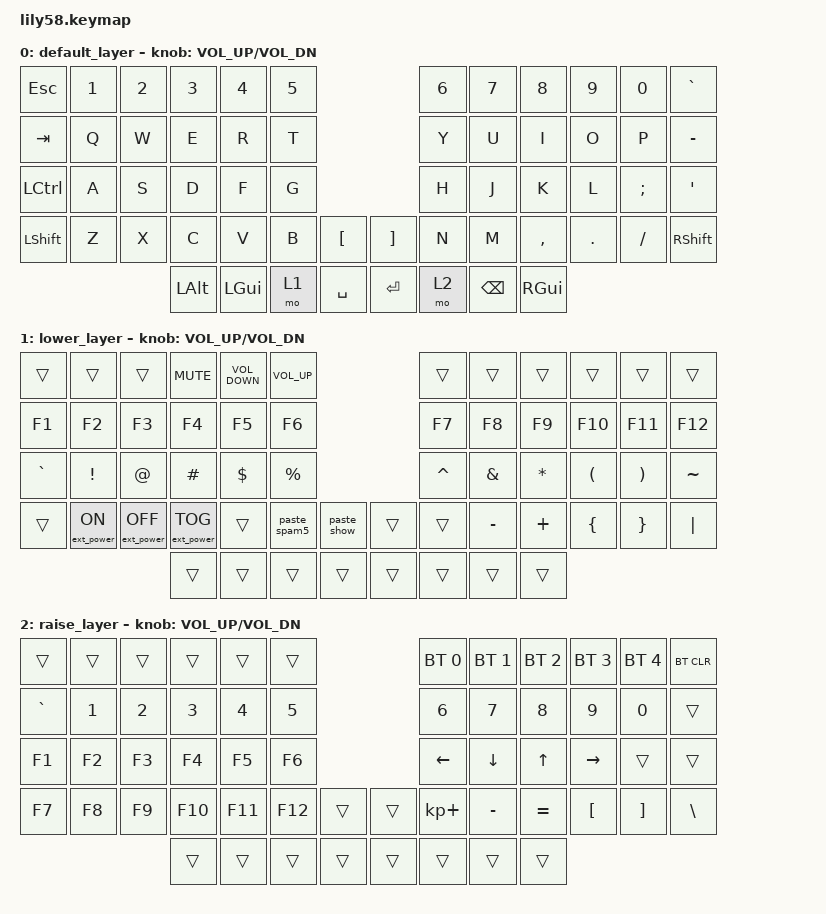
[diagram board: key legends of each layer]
/*
 * Copyright (c) 2020 The ZMK Contributors
 *
 * SPDX-License-Identifier: MIT
 */

#include <behaviors.dtsi>
#include <dt-bindings/zmk/bt.h>
#include <dt-bindings/zmk/ext_power.h>
#include <dt-bindings/zmk/keys.h>

/ {
    combos {
        compatible = "zmk,combos";

        combo_esc {
            timeout-ms = <50>;
            key-positions = <42 43>;
            bindings = <&kp ESC>;
        };
    };

    behaviors {
        ss_hs_modmorph: ss_hs_modmorph {
            compatible = "zmk,behavior-mod-morph";
            label = "SS_HS_MODMORPH";
            bindings = <&kp M>, <&kp RIGHT_BRACKET>;

            #binding-cells = <0>;
            mods = <(MOD_LSFT|MOD_RSFT)>;
        };

        kh_hs_tapdance: kh_hs_tapdance {
            compatible = "zmk,behavior-tap-dance";
            label = "KH_HS_TAPDANCE";
            #binding-cells = <0>;
            tapping-term-ms = <200>;
            bindings = <&kp LEFT_BRACKET>, <&kp RIGHT_BRACKET>;
        };

        hrm: hrm {
            compatible = "zmk,behavior-hold-tap";
            #binding-cells = <2>;
            flavor = "tap-preferred";
            tapping-term-ms = <200>;
            quick-tap-ms = <200>;
            require-prior-idle-ms = <125>;
            bindings = <&kp>, <&kp>;
        };
    };

    macros {
        paste_show: paste_show {
            compatible = "zmk,behavior-macro";
            #binding-cells = <0>;
            bindings = <&kp LS(ENTER) &kp LC(V)>;
            label = "PASTE_SHOW";
            wait-ms = <2>;
            tap-ms = <2>;
        };

        paste_spam5: paste_spam5 {
            compatible = "zmk,behavior-macro";
            #binding-cells = <0>;
            bindings = <&kp LS(ENTER) &kp LC(V) &kp ENTER &kp LS(ENTER) &kp LC(V) &kp ENTER>;
            label = "PASTE_SPAM5";
            wait-ms = <10>;
            tap-ms = <10>;
        };
    };

    keymap {
        compatible = "zmk,keymap";

        default_layer {
            // ------------------------------------------------------------------------------------------------------------
            // |  ESC  |  1  |  2  |  3   |  4   |  5   |                   |  6   |  7    |  8    |  9   |   0   |   `   |
            // |  TAB  |  Q  |  W  |  E   |  R   |  T   |                   |  Y   |  U    |  I    |  O   |   P   |   -   |
            // |  CTRL |  A  |  S  |  D   |  F   |  G   |                   |  H   |  J    |  K    |  L   |   ;   |   '   |
            // | SHIFT |  Z  |  X  |  C   |  V   |  B   |   "["  |  |  "]"  |  N   |  M    |  ,    |  .   |   /   | SHIFT |
            //                     | ALT  | GUI  | LOWER|  SPACE |  | ENTER | RAISE| BSPC  | GUI   |

            bindings = <
&kp ESC    &kp N1  &kp N2  &kp N3    &kp N4    &kp N5                         &kp N6  &kp N7    &kp N8     &kp N9   &kp N0    &kp GRAVE
&kp TAB    &kp Q   &kp W   &kp E     &kp R     &kp T                          &kp Y   &kp U     &kp I      &kp O    &kp P     &kp MINUS
&kp LCTRL  &kp A   &kp S   &kp D     &kp F     &kp G                          &kp H   &kp J     &kp K      &kp L    &kp SEMI  &kp SQT
&kp LSHFT  &kp Z   &kp X   &kp C     &kp V     &kp B   &kp LBKT     &kp RBKT  &kp N   &kp M     &kp COMMA  &kp DOT  &kp FSLH  &kp RSHFT
                           &kp LALT  &kp LGUI  &mo 1   &kp SPACE    &kp RET   &mo 2   &kp BSPC  &kp RGUI
            >;

            sensor-bindings = <&inc_dec_kp C_VOL_UP C_VOL_DN>;
        };

        lower_layer {
            // ------------------------------------------------------------------------------------------------------------
            // | BTCLR | BT1 | BT2 |  BT3 |  BT4 |  BT5 |                   |      |       |       |      |       |       |
            // |  F1   |  F2 |  F3 |  F4  |  F5  |  F6  |                   |  F7  |  F8   |  F9   |  F10 |  F11  |  F12  |
            // |   `   |  !  |  @  |  #   |  $   |  %   |                   |  ^   |  &    |  *    |  (   |   )   |   ~   |
            // |       |     |     |      |      |      |        |  |       |      |  _    |  +    |  {   |   }   |  "|"  |
            //                     |      |      |      |        |  |       |      |       |       |

            bindings = <
&trans     &trans            &trans             &kp C_MUTE         &kp C_VOLUME_DOWN  &kp C_VOLUME_UP                         &trans     &trans     &trans     &trans    &trans    &trans
&kp F1     &kp F2            &kp F3             &kp F4             &kp F5             &kp F6                                  &kp F7     &kp F8     &kp F9     &kp F10   &kp F11   &kp F12
&kp GRAVE  &kp EXCL          &kp AT             &kp HASH           &kp DOLLAR         &kp PRCNT                               &kp CARET  &kp AMPS   &kp ASTRK  &kp LPAR  &kp RPAR  &kp TILDE
&trans     &ext_power EP_ON  &ext_power EP_OFF  &ext_power EP_TOG  &trans             &paste_spam5     &paste_show    &trans  &trans     &kp MINUS  &kp PLUS   &kp LBRC  &kp RBRC  &kp PIPE
                                                &trans             &trans             &trans           &trans         &trans  &trans     &trans     &trans
            >;

            sensor-bindings = <&inc_dec_kp C_VOL_UP C_VOL_DN>;
        };

        raise_layer {
            // ------------------------------------------------------------------------------------------------------------
            // |       |     |     |      |      |      |                   |      |       |       |      |       |       |
            // |   `   |  1  |  2  |  3   |  4   |  5   |                   |  6   |   7   |   8   |  9   |   0   |       |
            // |   F1  |  F2 |  F3 |  F4  |  F5  |  F6  |                   |      |   <-  |   v   |  ^   |  ->   |       |
            // |   F7  |  F8 |  F9 |  F10 |  F11 |  F12 |        |  |       |  +   |   -   |   =   |  [   |   ]   |   \   |
            //                     |      |      |      |        |  |       |      |       |       |

            bindings = <
&trans     &trans  &trans  &trans   &trans   &trans                     &bt BT_SEL 0    &bt BT_SEL 1    &bt BT_SEL 2  &bt BT_SEL 3  &bt BT_SEL 4  &bt BT_CLR
&kp GRAVE  &kp N1  &kp N2  &kp N3   &kp N4   &kp N5                     &kp N6          &kp N7          &kp N8        &kp N9        &kp N0        &trans
&kp F1     &kp F2  &kp F3  &kp F4   &kp F5   &kp F6                     &kp LEFT_ARROW  &kp DOWN_ARROW  &kp UP        &kp RIGHT     &trans        &trans
&kp F7     &kp F8  &kp F9  &kp F10  &kp F11  &kp F12  &trans    &trans  &kp KP_PLUS     &kp MINUS       &kp EQUAL     &kp LBKT      &kp RBKT      &kp BSLH
                           &trans   &trans   &trans   &trans    &trans  &trans          &trans          &trans
            >;

            sensor-bindings = <&inc_dec_kp C_VOL_UP C_VOL_DN>;
        };
    };
};
